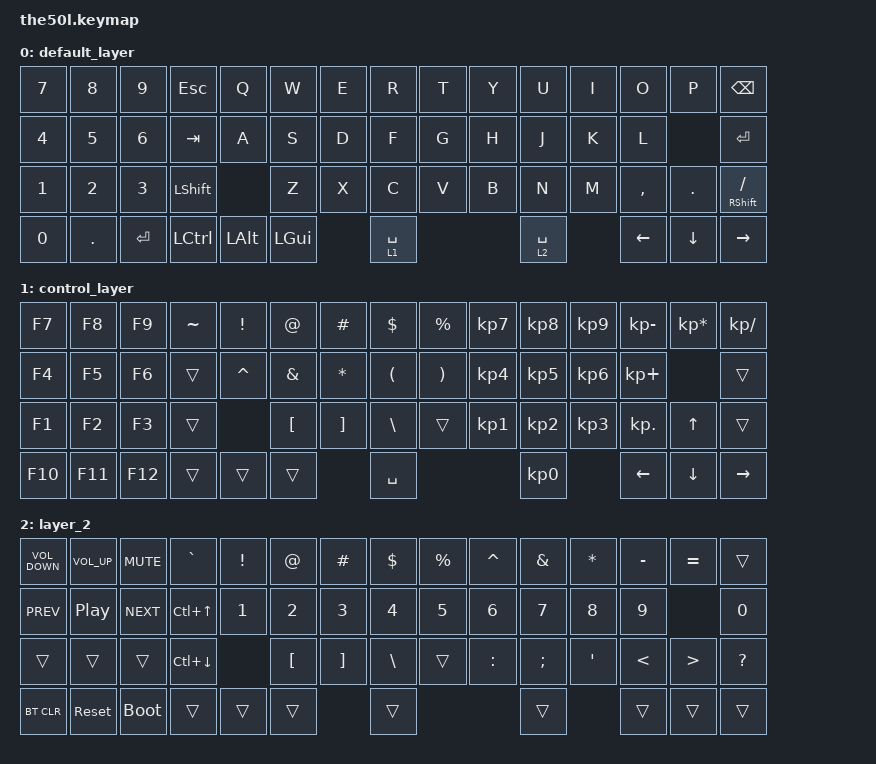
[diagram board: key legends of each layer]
/*
 * Copyright (c) 2023 LAZYDESIGNERS
 *
 * SPDX-License-Identifier: MIT
 */

#include <behaviors.dtsi>
#include <dt-bindings/zmk/bt.h>
#include <dt-bindings/zmk/keys.h>

/ {
    keymap {
        compatible = "zmk,keymap";

        default_layer {
            // ---------------------------------------------------------------------------------------------
            // | 7  |  8  |  9  | ESC |  Q  |  W  |  E  |  R  |  T  |  Y  |  U  |  I  |  O  |  P  |  BSPC  |
            // | 4  |  5  |  6  | TAB  |  A  |  S  |  D  |  F  |  G  |  H  |  J  |  K  |  L  |    ENTER    |
            // | 1  |  2  |  3  | SHIFT  |  Z  |  X  |  C  |  V  |  B  |  N  |  M  |  ,  |  UP  |  SHIFT   |
            // | 0  |  .  |ENTER| CTL  |  WIN  |  ALT  |    SPACE   |    SPACE   |  LEFT | DOWN  |  RIGHT  |
            // ---------------------------------------------------------------------------------------------

            bindings = <
&kp N7  &kp N8   &kp N9   &kp ESC    &kp Q     &kp W     &kp E  &kp R        &kp T  &kp Y  &kp U        &kp I  &kp O      &kp P       &kp BSPC
&kp N4  &kp N5   &kp N6   &kp TAB    &kp A     &kp S     &kp D  &kp F        &kp G  &kp H  &kp J        &kp K  &kp L                  &kp RET
&kp N1  &kp N2   &kp N3   &kp LSHFT            &kp Z     &kp X  &kp C        &kp V  &kp B  &kp N        &kp M  &kp COMMA  &kp PERIOD  &mt RSHIFT SLASH
&kp N0  &kp DOT  &kp RET  &kp LCTRL  &kp LALT  &kp LGUI         &lt 1 SPACE                &lt 2 SPACE         &kp LEFT   &kp DOWN    &kp RIGHT
            >;
        };

        control_layer {
            // ---------------------------------------------------------------------------------------------
            // | 7  |  8  |  9  | ESC |  Q  |  W  |  E  |  R  |  T  |  Y  |  U  |  I  |  O  |  P  |  BSPC  |
            // | 4  |  5  |  6  | TAB  |  A  |  S  |  D  |  F  |  G  |  H  |  J  |  K  |  L  |    ENTER    |
            // | 1  |  2  |  3  | SHIFT  |  Z  |  X  |  C  |  V  |  B  |  N  |  M  |  ,  |  UP  |  SHIFT   |
            // | 0  |  .  |ENTER| CTL  |  WIN  |  ALT  |    SPACE   |    SPACE   |  LEFT | DOWN  |  RIGHT  |
            // ---------------------------------------------------------------------------------------------

            bindings = <
&kp F7   &kp F8   &kp F9   &kp TILDE  &kp EXCLAMATION  &kp AT_SIGN       &kp HASH           &kp DOLLAR            &kp PERCENT            &kp KP_NUMBER_7  &kp KP_NUMBER_8  &kp KP_NUMBER_9  &kp KP_MINUS  &kp KP_MULTIPLY  &kp KP_DIVIDE
&kp F4   &kp F5   &kp F6   &trans     &kp CARET        &kp AMPERSAND     &kp ASTERISK       &kp LEFT_PARENTHESIS  &kp RIGHT_PARENTHESIS  &kp KP_NUMBER_4  &kp KP_NUMBER_5  &kp KP_NUMBER_6  &kp KP_PLUS                    &trans
&kp F1   &kp F2   &kp F3   &trans                      &kp LEFT_BRACKET  &kp RIGHT_BRACKET  &kp BACKSLASH         &trans                 &kp KP_NUMBER_1  &kp KP_NUMBER_2  &kp KP_NUMBER_3  &kp KP_DOT    &kp UP_ARROW     &trans
&kp F10  &kp F11  &kp F12  &trans     &trans           &trans                               &kp SPACE                                                     &kp KP_NUMBER_0                   &kp LEFT      &kp DOWN         &kp RIGHT
            >;
        };

        layer_2 {
            bindings = <
&kp C_VOLUME_DOWN  &kp C_VOLUME_UP   &kp K_MUTE   &kp GRAVE         &kp EXCLAMATION  &kp AT            &kp HASH           &kp DOLLAR     &kp PERCENT  &kp CARET     &kp AMPERSAND  &kp STAR  &kp MINUS      &kp EQUAL         &trans
&kp C_PREV         &kp C_PLAY_PAUSE  &kp C_NEXT   &kp LC(UP_ARROW)  &kp NUMBER_1     &kp NUMBER_2      &kp NUMBER_3       &kp NUMBER_4   &kp N5       &kp NUMBER_6  &kp N7         &kp N8    &kp N9                           &kp N0
&trans             &trans            &trans       &kp LC(DOWN)                       &kp LEFT_BRACKET  &kp RIGHT_BRACKET  &kp BACKSLASH  &trans       &kp COLON     &kp SEMICOLON  &kp SQT   &kp LESS_THAN  &kp GREATER_THAN  &kp QMARK
&bt BT_CLR         &sys_reset        &bootloader  &trans            &trans           &trans                               &trans                                    &trans                   &trans         &trans            &trans
            >;
        };
    };
};
